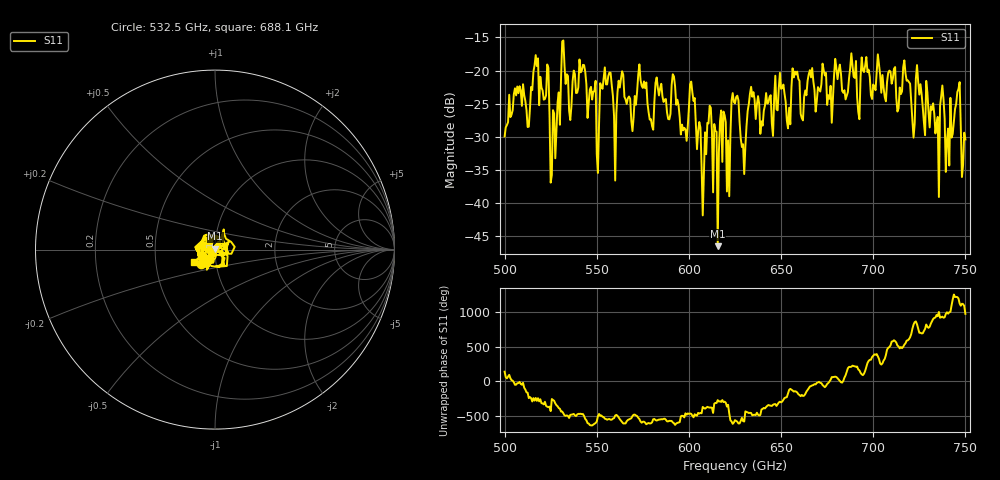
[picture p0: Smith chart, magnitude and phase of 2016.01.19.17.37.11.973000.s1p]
!Created with skrf (http://scikit-rf.org).
# GHz S RI R 50.0
!freq ReS11 ImS11
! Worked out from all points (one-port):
!   401 points, 500 GHz to 750 GHz, reference 50 ohm
!   lowest |S11| = -46.6 dB at 615.6 GHz (marker M1), VSWR 1.01, Z = 50 + j0.469 ohm
!   |S11| at or under -10 dB: start of sweep to end of sweep
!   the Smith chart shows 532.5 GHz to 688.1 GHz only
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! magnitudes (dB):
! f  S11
! 500 GHz  -30.0
! 506.9 GHz  -22.4
! 512.5 GHz  -28.6
! 516.9 GHz  -17.7
! 526.2 GHz  -26.0
! 531.2 GHz  -15.6
! 541.9 GHz  -20.0
! 550 GHz  -32.7
! 553.1 GHz  -22.8
! 560 GHz  -36.6
! 562.5 GHz  -22.6
! 593.8 GHz  -24.4
! 601.9 GHz  -23.3
! 608.1 GHz  -35.4
! 615.6 GHz  -46.6
! 618.1 GHz  -33.8
! 621.2 GHz  -30.6
! 625 GHz  -25.0
! 629.4 GHz  -31.2
! 633.8 GHz  -22.5
! 656.2 GHz  -19.7
! 687.5 GHz  -19.6
! 718.8 GHz  -21.5
! 734.4 GHz  -28.0
! 737.5 GHz  -22.3
! 740 GHz  -30.5
! 745.6 GHz  -23.3
! 750 GHz  -30.4
